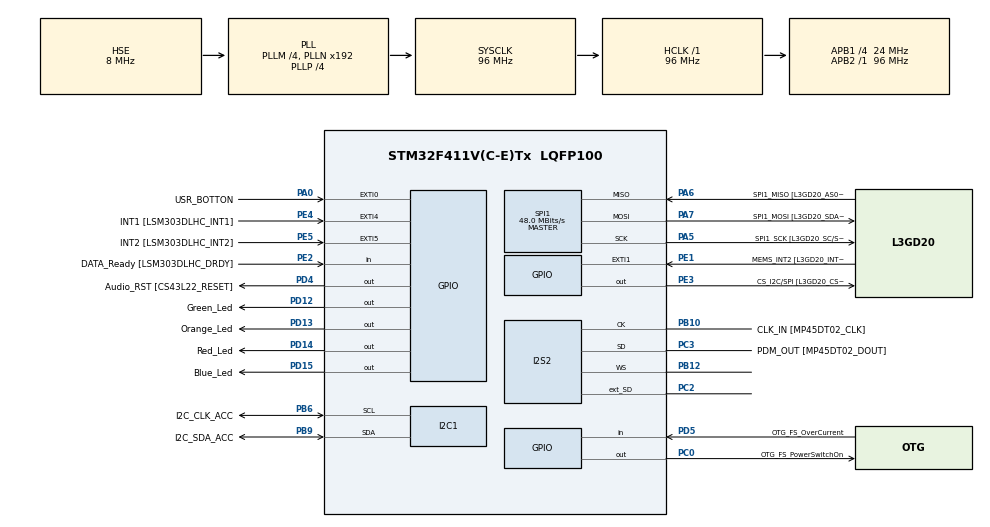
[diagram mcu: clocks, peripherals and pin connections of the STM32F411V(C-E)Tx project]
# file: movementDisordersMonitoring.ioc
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FREERTOS.BinarySemaphores01=i2c_sem,Dynamic,NULL,Available;printf_sem,Dynamic,NULL,Available
FREERTOS.HEAP_NUMBER=1
FREERTOS.Tasks01=defaultTask,24,128,StartDefaultTask,Default,NULL,Dynamic,NULL,NULL;task_acc,24,128,fsm_system_acc_task,As external,NULL,Dynamic,NULL,NULL;task_led,24,128,fsm_system_led_task,As external,NULL,Dynamic,NULL,NULL;task_mag,24,128,fsm_system_mag_task,As external,NULL,Dynamic,NULL,NULL
FREERTOS.configENABLE_FPU=1
FREERTOS.configGENERATE_RUN_TIME_STATS=1
FREERTOS.configRECORD_STACK_HIGH_ADDRESS=1
FREERTOS.configUSE_NEWLIB_REENTRANT=1
FREERTOS.configUSE_STATS_FORMATTING_FUNCTIONS=1
I2S2.AudioFreq=I2S_AUDIOFREQ_96K
I2S2.ErrorAudioFreq=-0.79 %
I2S2.FullDuplexMode=I2S_FULLDUPLEXMODE_ENABLE
I2S2.Instance=SPI$Index
I2S2.RealAudioFreq=95.238 KHz
I2S2.VirtualMode=I2S_MODE_MASTER
Mcu.Family=STM32F4
Mcu.Name=STM32F411V(C-E)Tx
Mcu.Package=LQFP100
NVIC.EXTI0_IRQn=true\:5\:0\:false\:false\:true\:true\:true\:true\:true
NVIC.PriorityGroup=NVIC_PRIORITYGROUP_4
NVIC.TIM1_UP_TIM10_IRQn=true\:15\:0\:false\:false\:true\:false\:false\:true\:true
NVIC.TimeBase=TIM1_UP_TIM10_IRQn
NVIC.TimeBaseIP=TIM10
PA0-WKUP.GPIO_Label=USR_BOTTON
PA0-WKUP.GPIO_PuPd=GPIO_NOPULL
PA0-WKUP.Signal=GPXTI0
PA10.GPIO_Label=OTG_FS_ID
PA10.Signal=USB_OTG_FS_ID
PA11.GPIO_Label=OTG_FS_DM
PA11.Signal=USB_OTG_FS_DM
PA12.GPIO_Label=OTG_FS_DP
PA12.Signal=USB_OTG_FS_DP
PA13.GPIO_Label=SWDIO
PA13.Mode=Serial_Wire
PA13.Signal=SYS_JTMS-SWDIO
PA14.GPIO_Label=SWCLK
PA14.Mode=Serial_Wire
PA14.Signal=SYS_JTCK-SWCLK
PA4.GPIO_Label=I2S3_WS [CS43L22_LRCK]
PA4.GPIO_Mode=GPIO_MODE_AF_PP
PA4.GPIO_PuPd=GPIO_NOPULL
PA4.GPIO_Speed=GPIO_SPEED_FREQ_LOW
PA4.Signal=I2S3_WS
PA5.GPIO_Label=SPI1_SCK [L3GD20_SC/SPC]
PA5.Mode=Full_Duplex_Master
PA5.Signal=SPI1_SCK
PA6.GPIO_Label=SPI1_MISO [L3GD20_AS0/SDO]
PA6.Mode=Full_Duplex_Master
PA6.Signal=SPI1_MISO
PA7.GPIO_Label=SPI1_MOSI [L3GD20_SDA/SDI/SDO]
PA7.Mode=Full_Duplex_Master
PA7.Signal=SPI1_MOSI
PA9.GPIO_Label=VBUS_FS
PA9.Signal=USB_OTG_FS_VBUS
PB10.GPIO_Label=CLK_IN [MP45DT02_CLK]
PB10.Mode=Full_Duplex_Master
PB10.Signal=I2S2_CK
PB12.Mode=Full_Duplex_Master
PB12.Signal=I2S2_WS
PB3.GPIO_Label=SWO
PB3.Signal=SYS_JTDO-SWO
PB6.GPIO_Label=I2C_CLK_ACC
PB6.GPIO_Pu=GPIO_PULLUP
PB6.GPIO_Speed=GPIO_SPEED_FREQ_LOW
PB6.Mode=I2C
PB6.Signal=I2C1_SCL
PB9.GPIO_Label=I2C_SDA_ACC
PB9.GPIO_Pu=GPIO_PULLUP
PB9.GPIO_Speed=GPIO_SPEED_FREQ_LOW
PB9.Mode=I2C
PB9.Signal=I2C1_SDA
PC0.GPIO_Label=OTG_FS_PowerSwitchOn
PC0.PinState=GPIO_PIN_SET
PC0.Signal=GPIO_Output
PC10.GPIO_Label=I2S3_SCK [CS43L22_SCLK]
PC10.GPIO_Mode=GPIO_MODE_AF_PP
PC10.GPIO_PuPd=GPIO_NOPULL
PC10.GPIO_Speed=GPIO_SPEED_FREQ_LOW
PC10.Signal=I2S3_CK
PC12.GPIO_Label=I2S3_SD [CS43L22_SDIN]
PC12.GPIO_Mode=GPIO_MODE_AF_PP
PC12.GPIO_PuPd=GPIO_NOPULL
PC12.GPIO_Speed=GPIO_SPEED_FREQ_LOW
PC12.Signal=I2S3_SD
PC14-OSC32_IN.GPIO_Label=PC14-OSC32_IN
PC14-OSC32_IN.Mode=LSE-External-Oscillator
PC14-OSC32_IN.Signal=RCC_OSC32_IN
PC15-OSC32_OUT.GPIO_Label=PC15-OSC32_OUT
PC15-OSC32_OUT.Mode=LSE-External-Oscillator
PC15-OSC32_OUT.Signal=RCC_OSC32_OUT
PC2.Mode=Full_Duplex_Master
PC2.Signal=I2S2_ext_SD
PC3.GPIO_Label=PDM_OUT [MP45DT02_DOUT]
PC3.Mode=Full_Duplex_Master
PC3.Signal=I2S2_SD
PC7.GPIO_Label=I2S3_MCK [CS43L22_MCLK]
PC7.GPIO_Mode=GPIO_MODE_AF_PP
PC7.GPIO_PuPd=GPIO_NOPULL
PC7.GPIO_Speed=GPIO_SPEED_FREQ_LOW
PC7.Signal=I2S3_MCK
PD12.GPIO_Label=Green_Led
PD12.GPIO_PuPd=GPIO_NOPULL
PD12.GPIO_Speed=GPIO_SPEED_FREQ_LOW
PD12.Signal=GPIO_Output
PD13.GPIO_Label=Orange_Led
PD13.GPIO_PuPd=GPIO_NOPULL
PD13.GPIO_Speed=GPIO_SPEED_FREQ_LOW
PD13.Signal=GPIO_Output
PD14.GPIO_Label=Red_Led
PD14.GPIO_PuPd=GPIO_NOPULL
PD14.GPIO_Speed=GPIO_SPEED_FREQ_LOW
PD14.Signal=GPIO_Output
PD15.GPIO_Label=Blue_Led
PD15.GPIO_PuPd=GPIO_NOPULL
PD15.GPIO_Speed=GPIO_SPEED_FREQ_LOW
PD15.Signal=GPIO_Output
PD4.GPIO_Label=Audio_RST [CS43L22_RESET]
PD4.Signal=GPIO_Output
PD5.GPIO_Label=OTG_FS_OverCurrent
PD5.Signal=GPIO_Input
PE1.GPIO_Label=MEMS_INT2 [L3GD20_INT2]
PE1.GPIO_ModeDefaultEXTI=GPIO_MODE_EVT_RISING
PE1.Signal=GPXTI1
PE2.GPIO_Label=DATA_Ready [LSM303DLHC_DRDY]
PE2.Signal=GPIO_Input
PE3.GPIO_Label=CS_I2C/SPI [L3GD20_CS_I2C/SPI]
PE3.Signal=GPIO_Output
PE4.GPIO_Label=INT1 [LSM303DLHC_INT1]
PE4.GPIO_ModeDefaultEXTI=GPIO_MODE_EVT_RISING
PE4.Signal=GPXTI4
PE5.GPIO_Label=INT2 [LSM303DLHC_INT2]
PE5.GPIO_ModeDefaultEXTI=GPIO_MODE_EVT_RISING
PE5.Signal=GPXTI5
PH0\ -\ OSC_IN.GPIO_Label=PH0-OSC_IN
PH0\ -\ OSC_IN.Mode=HSE-External-Oscillator
PH0\ -\ OSC_IN.Signal=RCC_OSC_IN
PH1\ -\ OSC_OUT.GPIO_Label=PH1-OSC_OUT
PH1\ -\ OSC_OUT.Mode=HSE-External-Oscillator
PH1\ -\ OSC_OUT.Signal=RCC_OSC_OUT
ProjectManager.HeapSize=0x200
ProjectManager.StackSize=0x400
ProjectManager.TargetToolchain=STM32CubeIDE
RCC.48MHZClocksFreq_Value=76800000
RCC.AHBFreq_Value=96000000
RCC.APB1CLKDivider=RCC_HCLK_DIV4
RCC.APB1Freq_Value=24000000
RCC.APB1TimFreq_Value=48000000
RCC.APB2Freq_Value=96000000
RCC.APB2TimFreq_Value=96000000
RCC.CortexFreq_Value=96000000
RCC.HCLKFreq_Value=96000000
RCC.HSE_VALUE=8000000
RCC.HSI_VALUE=16000000
RCC.PLLI2SM=5
RCC.PLLI2SN=200
RCC.PLLI2SR=3
RCC.PLLM=4
RCC.PLLP=RCC_PLLP_DIV4
RCC.PLLQ=5
RCC.PLLSourceVirtual=RCC_PLLSOURCE_HSE
RCC.SYSCLKFreq_VALUE=96000000
RCC.SYSCLKSource=RCC_SYSCLKSOURCE_PLLCLK
RCC.VCOOutputFreq_Value=384000000
SPI1.BaudRatePrescaler=SPI_BAUDRATEPRESCALER_2
SPI1.CalculateBaudRate=48.0 MBits/s
SPI1.Direction=SPI_DIRECTION_2LINES
SPI1.Mode=SPI_MODE_MASTER
SPI1.VirtualType=VM_MASTER
STMicroelectronics.X-CUBE-ALGOBUILD.1.4.0.LibraryCcDSPOoLibraryJjDSPOoLibrary=true
VP_FREERTOS_VS_CMSIS_V2.Mode=CMSIS_V2
VP_STMicroelectronics.X-CUBE-ALGOBUILD_VS_DSPOoLibraryJjLibrary_1.4.0_1.4.0.Mode=DSPOoLibraryJjLibrary
VP_SYS_VS_tim10.Mode=TIM10
board=STM32F411E-DISCO

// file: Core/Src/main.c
/* USER CODE BEGIN Header */
/**
  ******************************************************************************
  * @file           : main.c
  * @brief          : Main program body
  ******************************************************************************
  * @attention
  *
  * Copyright (c) 2025 STMicroelectronics.
  * All rights reserved.
  *
  * This software is licensed under terms that can be found in the LICENSE file
  * in the root directory of this software component.
  * If no LICENSE file comes with this software, it is provided AS-IS.
  *
  ******************************************************************************
  */
/* USER CODE END Header */
#include "main.h"
#include "cmsis_os.h"
#include "i2c.h"
#include "i2s.h"
#include "spi.h"
#include "gpio.h"

/* USER CODE BEGIN Includes */
#include "stm32f411e_discovery_accelerometer.h"
#include "stm32f411e_discovery_gyroscope.h"
#include "lsm303_mag.h"

/* USER CODE END Includes */

/* USER CODE BEGIN PV */
	volatile uint8_t system_status = 0; // 1 ON, 0 OFF
	volatile uint32_t last_press_time = 0;
/* USER CODE END PV */

void SystemClock_Config(void);
void MX_FREERTOS_Init(void);

/* USER CODE BEGIN 0 */
/*
void HAL_GPIO_EXTI_Callback(uint16_t GPIO_Pin) {
	uint32_t current_time = HAL_GetTick();
	if ((current_time - last_press_time) > 500) {
		last_press_time = current_time;
		system_status = !system_status;
	}
	last_press_time = current_time;
}
*/
void HAL_GPIO_EXTI_Callback(uint16_t GPIO_Pin) {
	//uint32_t current_time = osKernelGetTickCount();
	uint32_t current_time = xTaskGetTickCountFromISR();
	if ((current_time - last_press_time) > 500) {
		system_status = !system_status;
	}
	last_press_time = current_time;
}
/* USER CODE END 0 */

int main(void)
{

  /* MCU Configuration--------------------------------------------------------*/

  /* Reset of all peripherals, Initializes the Flash interface and the Systick. */
  HAL_Init();

  /* Configure the system clock */
  SystemClock_Config();

  /* Initialize all configured peripherals */
  MX_GPIO_Init();
  MX_I2S2_Init();
  MX_SPI1_Init();
  MX_I2C1_Init();
  /* USER CODE BEGIN 2 */
	BSP_ACCELERO_Init();
	//BSP_GYRO_Init();
	LSM303AGR_MagInit();
  /* USER CODE END 2 */

  /* Init scheduler */
  osKernelInitialize();  /* Call init function for freertos objects (in cmsis_os2.c) */
  MX_FREERTOS_Init();

  /* Start scheduler */
  osKernelStart();

  /* We should never get here as control is now taken by the scheduler */

  /* Infinite loop */
  while (1)
  {

  }
}

void SystemClock_Config(void)
{
  RCC_OscInitTypeDef RCC_OscInitStruct = {0};
  RCC_ClkInitTypeDef RCC_ClkInitStruct = {0};

  /** Configure the main internal regulator output voltage
  */
  __HAL_RCC_PWR_CLK_ENABLE();
  __HAL_PWR_VOLTAGESCALING_CONFIG(PWR_REGULATOR_VOLTAGE_SCALE1);

  /** Initializes the RCC Oscillators according to the specified parameters
  * in the RCC_OscInitTypeDef structure.
  */
  RCC_OscInitStruct.OscillatorType = RCC_OSCILLATORTYPE_HSE;
  RCC_OscInitStruct.HSEState = RCC_HSE_ON;
  RCC_OscInitStruct.PLL.PLLState = RCC_PLL_ON;
  RCC_OscInitStruct.PLL.PLLSource = RCC_PLLSOURCE_HSE;
  RCC_OscInitStruct.PLL.PLLM = 4;
  RCC_OscInitStruct.PLL.PLLN = 192;
  RCC_OscInitStruct.PLL.PLLP = RCC_PLLP_DIV4;
  RCC_OscInitStruct.PLL.PLLQ = 5;
  if (HAL_RCC_OscConfig(&RCC_OscInitStruct) != HAL_OK)
  {
    Error_Handler();
  }

  /** Initializes the CPU, AHB and APB buses clocks
  */
  RCC_ClkInitStruct.ClockType = RCC_CLOCKTYPE_HCLK|RCC_CLOCKTYPE_SYSCLK
                              |RCC_CLOCKTYPE_PCLK1|RCC_CLOCKTYPE_PCLK2;
  RCC_ClkInitStruct.SYSCLKSource = RCC_SYSCLKSOURCE_PLLCLK;
  RCC_ClkInitStruct.AHBCLKDivider = RCC_SYSCLK_DIV1;
  RCC_ClkInitStruct.APB1CLKDivider = RCC_HCLK_DIV4;
  RCC_ClkInitStruct.APB2CLKDivider = RCC_HCLK_DIV1;

  if (HAL_RCC_ClockConfig(&RCC_ClkInitStruct, FLASH_LATENCY_3) != HAL_OK)
  {
    Error_Handler();
  }
}

/* USER CODE BEGIN 4 */
int __io_putchar(int ch){
	return ITM_SendChar(ch);
}
/* USER CODE END 4 */

void HAL_TIM_PeriodElapsedCallback(TIM_HandleTypeDef *htim)
{
  if (htim->Instance == TIM10)
  {
    HAL_IncTick();
  }
}

void Error_Handler(void)
{
  __disable_irq();
  while (1)
  {
  }
}

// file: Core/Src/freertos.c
/* USER CODE BEGIN Header */
/**
  ******************************************************************************
  * File Name          : freertos.c
  * Description        : Code for freertos applications
  ******************************************************************************
  * @attention
  *
  * Copyright (c) 2025 STMicroelectronics.
  * All rights reserved.
  *
  * This software is licensed under terms that can be found in the LICENSE file
  * in the root directory of this software component.
  * If no LICENSE file comes with this software, it is provided AS-IS.
  *
  ******************************************************************************
  */
/* USER CODE END Header */

#include "FreeRTOS.h"
#include "task.h"
#include "main.h"
#include "cmsis_os.h"

/* USER CODE BEGIN Includes */
#include "fsm.h"
#include "fsm_system_led.h"
#include "fsm_fetch_data.h"
#include "fsm_magnetometer.h"
//#include "stm32f411e_discovery_accelerometer.h"
/* USER CODE END Includes */

/* Definitions for defaultTask */
osThreadId_t defaultTaskHandle;
const osThreadAttr_t defaultTask_attributes = {
  .name = "defaultTask",
  .stack_size = 128 * 4,
  .priority = (osPriority_t) osPriorityNormal,
};
/* Definitions for task_acc */
osThreadId_t task_accHandle;
const osThreadAttr_t task_acc_attributes = {
  .name = "task_acc",
  .stack_size = 128 * 4,
  .priority = (osPriority_t) osPriorityNormal,
};
/* Definitions for task_led */
osThreadId_t task_ledHandle;
const osThreadAttr_t task_led_attributes = {
  .name = "task_led",
  .stack_size = 128 * 4,
  .priority = (osPriority_t) osPriorityNormal,
};
/* Definitions for task_mag */
osThreadId_t task_magHandle;
const osThreadAttr_t task_mag_attributes = {
  .name = "task_mag",
  .stack_size = 128 * 4,
  .priority = (osPriority_t) osPriorityNormal,
};
/* Definitions for i2c_sem */
osSemaphoreId_t i2c_semHandle;
const osSemaphoreAttr_t i2c_sem_attributes = {
  .name = "i2c_sem"
};
/* Definitions for printf_sem */
osSemaphoreId_t printf_semHandle;
const osSemaphoreAttr_t printf_sem_attributes = {
  .name = "printf_sem"
};

void StartDefaultTask(void *argument);
extern void fsm_system_acc_task(void *argument);
extern void fsm_system_led_task(void *argument);
extern void fsm_system_mag_task(void *argument);

void MX_FREERTOS_Init(void); /* (MISRA C 2004 rule 8.1) */

/* Hook prototypes */
void configureTimerForRunTimeStats(void);
unsigned long getRunTimeCounterValue(void);

/* USER CODE BEGIN 1 */
/* Functions needed when configGENERATE_RUN_TIME_STATS is on */
__weak void configureTimerForRunTimeStats(void)
{
	//Contador del timer, cuenta ciclos de reloj
	CoreDebug->DEMCR |= CoreDebug_DEMCR_TRCENA_Msk;
	DWT->CTRL |= DWT_CTRL_CYCCNTENA_Msk;
	DWT->CYCCNT = 0;
}

__weak unsigned long getRunTimeCounterValue(void)
{
	return DWT->CYCCNT;
}
/* USER CODE END 1 */

void MX_FREERTOS_Init(void) {

  /* Create the semaphores(s) */
  /* creation of i2c_sem */
  i2c_semHandle = osSemaphoreNew(1, 1, &i2c_sem_attributes);

  /* creation of printf_sem */
  printf_semHandle = osSemaphoreNew(1, 1, &printf_sem_attributes);

  /* Create the thread(s) */
  /* creation of defaultTask */
  defaultTaskHandle = osThreadNew(StartDefaultTask, NULL, &defaultTask_attributes);

  /* creation of task_acc */
  task_accHandle = osThreadNew(fsm_system_acc_task, NULL, &task_acc_attributes);

  /* creation of task_led */
  task_ledHandle = osThreadNew(fsm_system_led_task, NULL, &task_led_attributes);

  /* creation of task_mag */
  task_magHandle = osThreadNew(fsm_system_mag_task, NULL, &task_mag_attributes);

}

void StartDefaultTask(void *argument)
{
  /* USER CODE BEGIN StartDefaultTask */
	//fsm_t* f1 = fsm_system_led_new();
	//fsm_t* f2 = fsm_fetch_data_new();
	//fsm_t* f3 = fsm_magnetometer_new();
	/* Infinite loop */
  for(;;)
  {
	//fsm_fire(f1);
	//fsm_fire(f2);
	//fsm_fire(f3);
	// Delay para que el planificador pueda entrar en juego,
	// Delay <= 5 para que funcione correctamente el sistema
	//osDelayUntil(10);
	osDelay(1);

  }

  /* USER CODE END StartDefaultTask */
}
